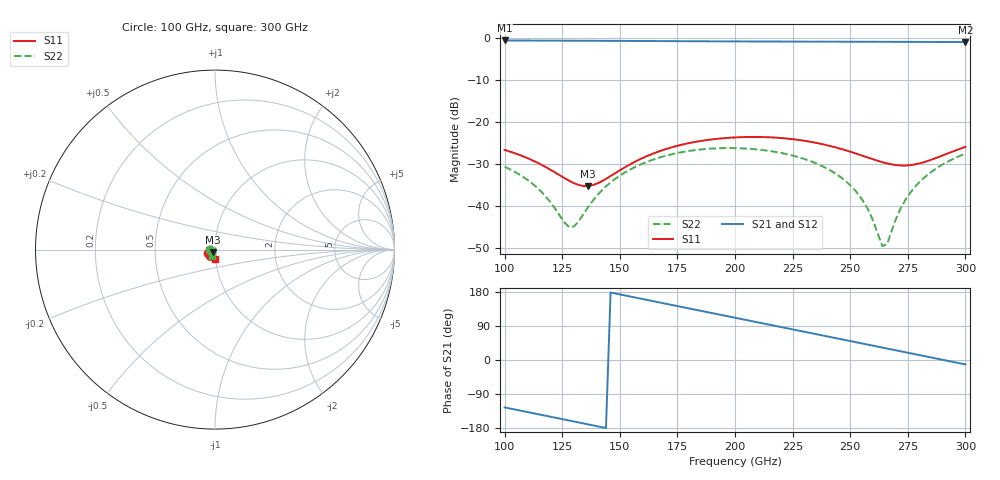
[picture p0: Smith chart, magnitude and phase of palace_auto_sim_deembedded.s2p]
! Created with skrf 1.11.0 (http://scikit-rf.org).
# GHz S DB R 50.0
!freq dBS11 angS11 dBS21 angS21 dBS12 angS12 dBS22 angS22
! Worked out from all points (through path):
!   101 points, 100 GHz to 300 GHz, reference 50 ohm
!   highest |S21| = -0.70 dB at 100 GHz (marker M1); lowest = -1.1 dB at 300 GHz (marker M2)
!   group delay of S21, straight-line fit = 3.42 ps
!   lowest |S11| = -35.3 dB at 136 GHz (marker M3), VSWR 1.03, Z = 49 - j1.39 ohm
!   |S11| at or under -10 dB: start of sweep to end of sweep
!   |S22| runs from -49.6 to -26.3 dB; largest |S21 - S12| = 1.1e-14
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100  -26.72 -153.1  -0.70 -125.1  -0.70 -125.1  -30.71 -179.6
114  -29.69 -160.3  -0.73 -142.4  -0.73 -142.4  -35.63 167.2
128  -34.04 -148.6  -0.76 -159.7  -0.76 -159.7  -45.03 -153.3
130  -34.59 -143.7  -0.76 -162.2  -0.76 -162.2  -44.95 -134.3
134  -35.26 -131.3  -0.77 -167.1  -0.77 -167.1  -42.15 -107.7
136  -35.30 -124.4  -0.77 -169.6  -0.77 -169.6  -40.50 -101.4
150  -31.56 -93.7  -0.80 173.1  -0.80 173.1  -32.83 -100.4
168  -26.87 -94.9  -0.85 150.9  -0.85 150.9  -28.40 -121.2
184  -24.68 -105.6  -0.89 131.2  -0.89 131.2  -26.67 -142.8
200  -23.74 -117.8  -0.92 111.5  -0.92 111.5  -26.29 -164.7
218  -23.81 -131.0  -0.95 89.4  -0.95 89.4  -27.22 170.4
234  -24.90 -140.7  -0.98 69.7  -0.98 69.7  -29.63 147.3
244  -26.16 -144.1  -0.99 57.4  -0.99 57.4  -32.46 131.5
252  -27.47 -143.9  -1.00 47.6  -1.00 47.6  -36.24 116.2
258  -28.57 -141.1  -1.01 40.2  -1.01 40.2  -41.13 98.6
264  -29.62 -135.0  -1.02 32.8  -1.02 32.8  -49.58 38.5
266  -29.91 -132.2  -1.02 30.3  -1.02 30.3  -49.11 -6.3
268  -30.14 -129.0  -1.02 27.8  -1.02 27.8  -45.91 -35.2
274  -30.41 -118.0  -1.03 20.4  -1.03 20.4  -38.54 -66.8
280  -29.93 -107.0  -1.04 13.0  -1.04 13.0  -34.39 -81.1
288  -28.47 -96.9  -1.06 3.1  -1.06 3.1  -30.88 -95.5
300  -25.99 -92.0  -1.08 -11.7  -1.08 -11.7  -27.60 -114.4
